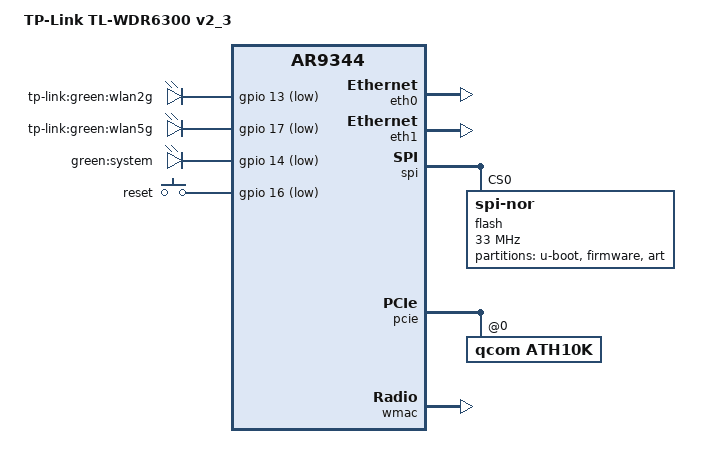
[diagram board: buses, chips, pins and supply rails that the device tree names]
// SPDX-License-Identifier: GPL-2.0-or-later OR MIT

#include "ar9344.dtsi"
#include <dt-bindings/gpio/gpio.h>
#include <dt-bindings/input/input.h>

/ {
	model = "TP-Link TL-WDR6300 v2_3";
	compatible = "tplink,tl-wdr6300-v2_3", "qca,ar9344";

	aliases {
		label-mac-device = &ath10k;
		led-boot = &led_system;
		led-failsafe = &led_system;
		led-running = &led_system;
		led-upgrade = &led_system;
	};

	leds: leds {
		compatible = "gpio-leds";

		wlan2g {
			label = "tp-link:green:wlan2g";
			gpios = <&gpio 13 GPIO_ACTIVE_LOW>;
			linux,default-trigger = "phy0tpt";
		};
		wlan5g {
			label = "tp-link:green:wlan5g";
			gpios = <&gpio 17 GPIO_ACTIVE_LOW>;
			linux,default-trigger = "phy1tpt";
		};
		led_system: system {
			label = "green:system";
			gpios = <&gpio 14 GPIO_ACTIVE_LOW>;
			default-state = "on";
		};
	};

	keys {
		compatible = "gpio-keys";

		reset {
			linux,code = <KEY_RESTART>;
			gpios = <&gpio 16 GPIO_ACTIVE_LOW>;
			debounce-interval = <60>;
		};
	};
};

&eth0 {
	status = "okay";
    phy-mask = <4>;
};

&eth1 {
	status = "okay";
};
&ref {
	clock-frequency = <40000000>;
};
&gpio {
    reg = <0x18040000 0x6c>;
};
&spi {
	status = "okay";

	flash@0 {
		compatible = "jedec,spi-nor";
		reg = <0>;
		spi-max-frequency = <33000000>;

		partitions {
			compatible = "fixed-partitions";
			#address-cells = <1>;
			#size-cells = <1>;

			uboot: partition@0 {
				label = "u-boot";
				reg = <0x000000 0x020000>;
				read-only;
			};

			partition@20000 {
				compatible = "tplink,firmware";
				label = "firmware";
				reg = <0x020000 0x7d0000>;
			};

			art: partition@ff0000 {
				label = "art";
				reg = <0xff0000 0x10000>;
				read-only;
			};
		};
	};
};

&pcie {
	status = "okay";

	ath10k: wifi@0,0 {
		compatible = "qcom,ath10k";
		reg = <0x0000 0 0 0 0>;
		qca,no-eeprom;
		#gpio-cells = <2>;
		gpio-controller;
	};
};

&wmac {
	status = "okay";

	mtd-cal-data = <&art 0x1000>;
};
